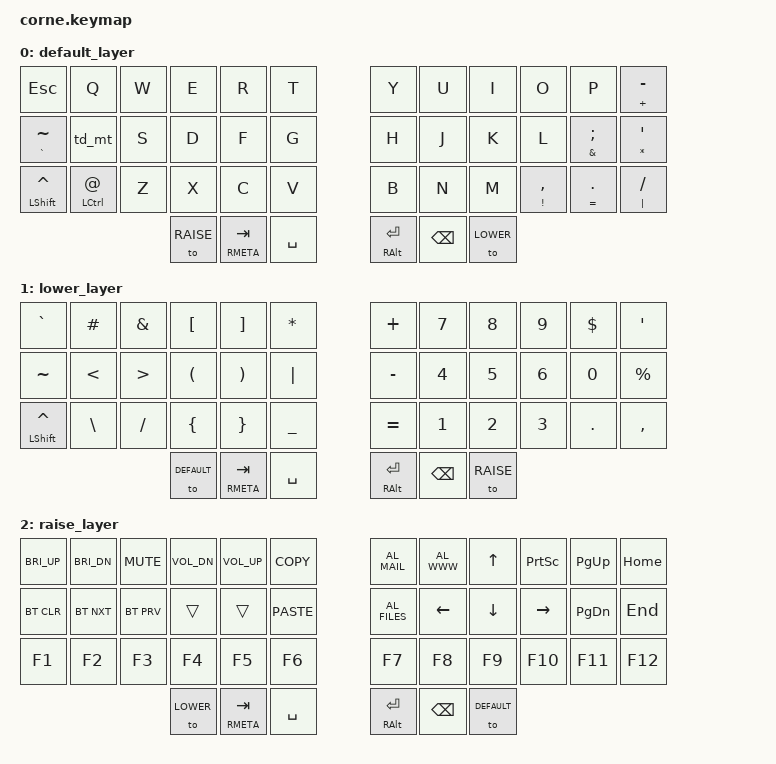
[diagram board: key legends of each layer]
/*
 * Copyright (c) 2020 The ZMK Contributors
 *
 * SPDX-License-Identifier: MIT
 */

#include <behaviors.dtsi>
#include <dt-bindings/zmk/keys.h>
#include <dt-bindings/zmk/bt.h>
#define DEFAULT 0
#define LOWER 1
#define RAISE 2

/ {
behaviors {
        td_mt: tap_dance_mod_tap {
            compatible = "zmk,behavior-tap-dance";
            label = "TAP_DANCE_MOD_TAP";
            #binding-cells = <0>;
            tapping-term-ms = <200>;
            bindings = <&kp A>, <&mo RAISE>;
        };
    };
        keymap {
                compatible = "zmk,keymap";

                default_layer {
// -----------------------------------------------------------------------------------------
// |  ESC |  Q  |  W  |  E  |  R  |  T  |   |  Y  |  U   |  I  |  O  |  P       | mt + -/_   |
// |mt ` ~|  A  |  S  |  D  |  F  |  G  |   |  H  |  J   |  K  |  L  |  mt & ;/:  |  mt * '/" |
// |mt = ^|  mt CRTL @  |  Z  |  X  |  C  |  V  |   |  B  |  N   |  M  |  mt ! ,  |  mt = .   | mt | /  |
//    | LAYER LOWER | TAB | SPC |   | Enter | Backspace  | LAYER UP |
                        bindings = <
   &kp ESC   &kp Q &kp W &kp E &kp R &kp T   &kp Y &kp U  &kp I     &kp O   &kp P    &mt PLUS MINUS
   &mt GRAVE TILDE &td_mt &kp S &kp D &kp F   &kp G   &kp H &kp J  &kp K     &kp L   &mt AMPS SEMI &mt STAR APOS
   &mt LSHFT CARET &mt LCTRL AT &kp Z &kp X &kp C &kp V   &kp B   &kp N &kp M  &mt EXCL COMMA &mt EQUAL DOT &mt PIPE SLASH 
          &to RAISE &mt RMETA TAB &kp SPACE   &mt RALT RET &kp BSPC &to LOWER
                        >;
                };
                lower_layer {
// -----------------------------------------------------------------------------------------
// |  ` |  #   |  &   |  [  |  ]  |  *  |   |  +  |  7  |  8  |  9  |  $ | BKSP |
// | ~  | <    | >    |  (  |  )  | |   |   | -   |  4  |  5  |  6  |  0 |   %  |
// | ^  |  \   |   /  |  {  |  }  |  _  |   |  =  |  1  |  2  |  3  |  . |  ,   |
//         |LAYER DEFAULT|  TAB   | SPC |   | ENT | BSPC| LAYER RAISE |
                        bindings = <
   &kp GRAVE  &kp HASH &kp AMPS &kp LBKT  &kp RBKT &kp STAR   &kp PLUS   &kp N7   &kp N8 &kp N9  &kp DOLLAR &kp APOS
   &kp TILDE  &kp LT   &kp GT   &kp LPAR  &kp RPAR &kp PIPE   &kp MINUS  &kp N4   &kp N5 &kp N6  &kp N0     &kp PERCENT
   &mt LSHFT CARET  &kp BSLH &kp FSLH &kp LBRC  &kp RBRC &kp UNDER  &kp EQUAL  &kp N1   &kp N2 &kp N3  &kp DOT    &kp COMMA
                     &to DEFAULT &mt RMETA TAB &kp SPACE   &mt RALT RET &kp BSPC  &to RAISE 
                        >;
                };

                raise_layer {
// -----------------------------------------------------------------------------------------
// |BRIGHT  DOWN  |  BRIGHT UP |  MUTE   |  VOLDOWN  |  VOLUP |  copy   |   |  mail  |  www   |  UP    |PRINTSCREEN| PAGEUP   | HOME |
// |     bt 0      |     bt1    | bt2    | bt3       | btclear| paste   |   |  files |  LEFT  |  DOWN  |  RIGHT    | PAGEDOWN |  END |
// | F1           |  F2        |   F3    |  F4       |   F5   |   F6    |   |  F7    |  F8    |  F9    |  F10      | F11      | F12  | 
//                                            | LAYER LOWER | TAB | SPC |   | ENT    |  Backspace   | LAYER DEFAULT |
                        bindings = <
   &kp C_BRI_UP   &kp C_BRI_DN  &kp C_MUTE &kp C_VOL_DN &kp C_VOL_UP &kp K_COPY       &kp C_AL_MAIL  &kp C_AL_WWW  &kp UP  &kp PRINTSCREEN &kp PG_UP &kp HOME
   &bt BT_CLR   &bt BT_NXT  &bt BT_PRV &trans  &trans  &kp K_PASTE      &kp C_AL_FILES &kp LEFT   &kp DOWN  &kp RIGHT       &kp PG_DN &kp END
   &kp F1         &kp F2        &kp F3     &kp F4      &kp F5      &kp F6           &kp F7         &kp F8     &kp F9    &kp F10 &kp F11  &kp F12
                             &to LOWER &mt RMETA TAB &kp SPACE   &mt RALT RET &kp BSPC  &to DEFAULT
  
                        >;
                };
        };
};
